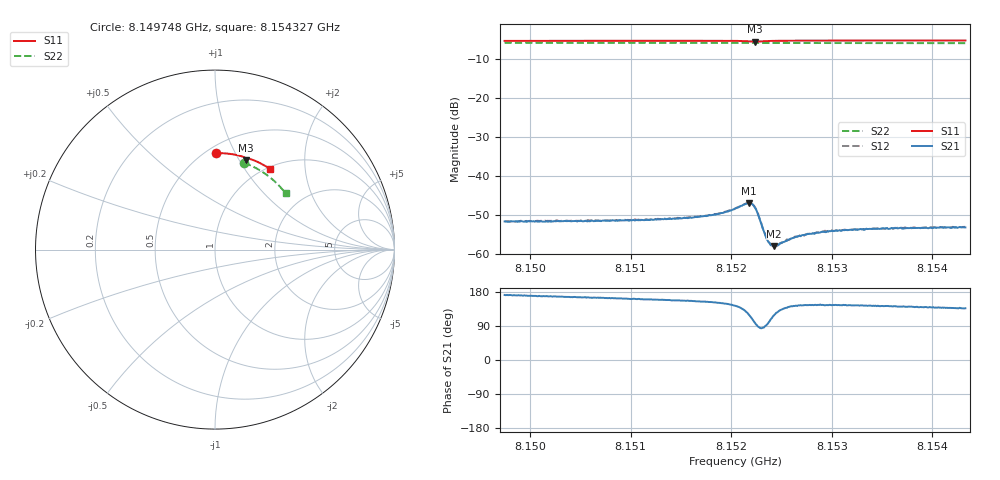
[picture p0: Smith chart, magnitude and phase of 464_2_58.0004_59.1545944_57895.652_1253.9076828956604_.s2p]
#  HZ  S  RI  R  50.00
! Rohde & Schwarz Vector Network Analyzer
! Rohde-Schwarz,ZNB20-2Port,1311601062101988,3.16
! Created: UTC 3/21/2024, 1:11:05 AM
! freq[Hz]  re:S11  im:S11  re:S21  im:S21  re:S12  im:S12  re:S22  im:S22
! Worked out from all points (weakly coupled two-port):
!   401 points, 8.149748 GHz to 8.154327 GHz, reference 50 ohm
!   highest |S21| = -46.89 dB at 8.152175 GHz (marker M1); lowest = -57.8 dB at 8.152427 GHz (marker M2)
!   lowest |S11| = -5.6 dB at 8.152232 GHz (marker M3), VSWR 3.22, Z = 38.7 + j53.2 ohm
!   |S11| at or under -10 dB: nowhere
!   |S22| runs from -6.0 to -5.9 dB; largest |S21 - S12| = 0.00012
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8.1497475e9  0.00636 0.5378  -0.00261 0.000385  -0.00262 0.000446  0.1618 0.4835
8.1505146e9  0.0598 0.5358  -0.00258 0.000681  -0.00258 0.000731  0.2073 0.4645
8.1512817e9  0.113 0.5284  -0.00261 0.00101  -0.00262 0.00107  0.2505 0.4414
8.1515909e9  0.1346 0.5235  -0.0027 0.0012  -0.00272 0.00127  0.2672 0.431
8.1517512e9  0.1461 0.5204  -0.00276 0.00138  -0.0028 0.00142  0.2757 0.4252
8.1519115e9  0.1578 0.5165  -0.00292 0.00169  -0.00293 0.00178  0.2841 0.4194
8.1520374e9  0.1675 0.5118  -0.00309 0.0023  -0.00306 0.00232  0.2906 0.4146
8.1521748e9  0.1744 0.5008  -0.00226 0.00392  -0.00224 0.00397  0.2975 0.4092
8.1522091e9  0.1727 0.4981  -0.00134 0.00418  -0.0013 0.00421  0.299 0.4078
8.152232e9  0.1708 0.4976  -0.000656 0.00397  -0.000622 0.00405  0.2999 0.4069
8.1522664e9  0.1689 0.4999  9.63e-05 0.00322  0.000106 0.00333  0.3016 0.4058
8.1523351e9  0.172 0.5055  2.81e-05 0.0018  0.000105 0.00183  0.305 0.4033
8.152358e9  0.1741 0.5064  -0.000109 0.00153  -8.61e-05 0.00152  0.3061 0.4026
8.1523923e9  0.1774 0.5072  -0.000386 0.00125  -0.000362 0.00128  0.308 0.4012
8.1524267e9  0.1805 0.5073  -0.00061 0.00113  -0.000601 0.00114  0.3098 0.3998
8.152461e9  0.1836 0.5071  -0.000764 0.00105  -0.000749 0.00107  0.3115 0.3986
8.1525297e9  0.1893 0.5063  -0.00105 0.000994  -0.00104 0.00103  0.3148 0.3957
8.1526557e9  0.1989 0.5036  -0.00133 0.00103  -0.00134 0.00104  0.321 0.3904
8.1528045e9  0.2094 0.4999  -0.00152 0.00105  -0.00154 0.00108  0.328 0.3842
8.1530564e9  0.2262 0.4933  -0.00163 0.00115  -0.00163 0.00118  0.3398 0.3734
8.1535716e9  0.259 0.4779  -0.00167 0.00131  -0.00169 0.00133  0.3625 0.3502
8.1543273e9  0.3044 0.4518  -0.0016 0.00152  -0.00161 0.00159  0.3929 0.3137
